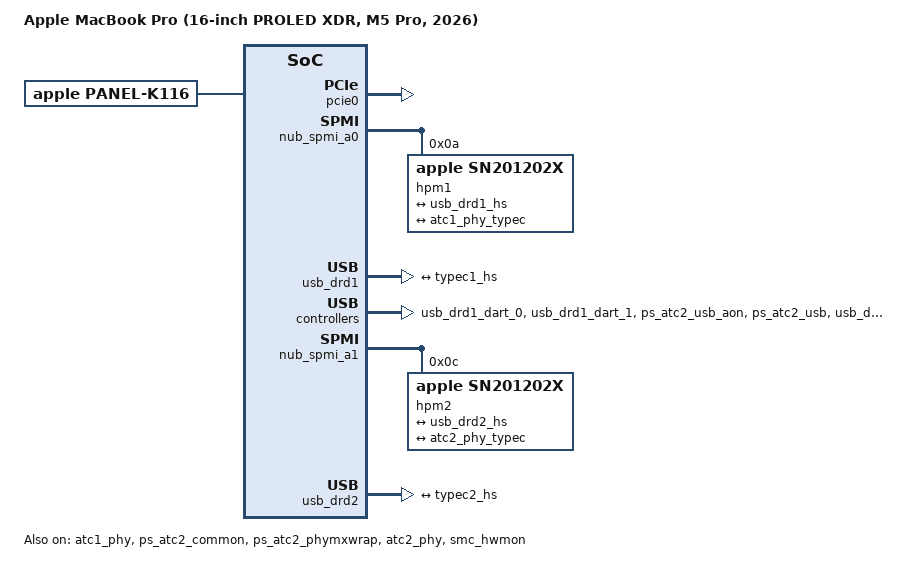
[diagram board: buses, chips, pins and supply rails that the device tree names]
// SPDX-License-Identifier: GPL-2.0+ OR MIT
/*
 * MacBook Pro (16-inch PROLED XDR, M5 Pro, 2026)
 *
 * target-type: K116s (Mac17,12)
 *
 * Preliminary: described from the ADT only, not yet booted on the hardware.
 *
 * Copyright The Asahi Linux Contributors
 */

#include "t6050-k114-k116.dtsi"

/ {
	compatible = "apple,k116s", "apple,t6050", "apple,arm-platform";
	model = "Apple MacBook Pro (16-inch PROLED XDR, M5 Pro, 2026)";
};

&mtp_multitouch {
	firmware-name = "apple/tpmtfw-k116s.bin";
};

#define T6050_K116S
#include "t6050-peripherals.dtsi"

/ {
	aliases {
		/* The loader fills the N1's factory addresses through these */
		wifi0 = &n1_alpha;
		bluetooth0 = &n1_beta;
	};
};

/* Only PCIe port 0's PERST#, pin 80, is exposed */
&pinctrl_ap {
	gpio-reserved-ranges = <0 80>, <81 140>;
};

/*
 * PCIe port 0: the N1 (Wi-Fi and Bluetooth), laid out as on J714s. ADT apcie0
 * gives port 0's registers and IRQ 1523, pci-bridge0's PERST# is GPIO 80, and
 * the N1's three functions are on DART streams 1-3. The platform ID is this
 * board's ADT /chosen board-id (0x16) << 16 | chip 0x6050.
 */
&pcie0 {
	reg = <0x1c 0xb0000000 0x0 0x10000000>,
	      <0x4 0x14000000 0x0 0x4000>,
	      <0x4 0x10028000 0x0 0x8000>,
	      <0x4 0x17010000 0x0 0x4000>,
	      <0x4 0x10024000 0x0 0x4000>;
	reg-names = "config", "rc", "port0", "phy0", "intr2axi0";
	interrupts = <AIC_IRQ 0 1523 IRQ_TYPE_LEVEL_HIGH>;
	interrupt-names = "port0";
	iommu-map = <0x100 &dart_apcie0 1 3>;
	bus-range = <0 4>;
	status = "okay";

	port00: pci@0,0 {
		device_type = "pci";
		reg = <0x0 0 0 0 0>;
		bus-range = <1 1>;
		apple,link-trained-by-bootloader;
		/* PERST#: ADT pci-bridge0 function-perst, GPIO 80 */
		reset-gpios = <&pinctrl_ap 80 GPIO_ACTIVE_LOW>;
		status = "disabled";

		#address-cells = <3>;
		#size-cells = <2>;
		ranges;

		interrupt-controller;
		#interrupt-cells = <1>;
		interrupt-map-mask = <0 0 0 7>;
		interrupt-map = <0 0 0 1 &port00 0 0 0 0>,
				<0 0 0 2 &port00 0 0 0 1>,
				<0 0 0 3 &port00 0 0 0 2>,
				<0 0 0 4 &port00 0 0 0 3>;

		n1_control: control@0,0 {
			compatible = "pci106b,1900";
			reg = <0x10000 0x0 0x0 0x0 0x0>;
			firmware-name = "apple/centauri/k116s-ftab.bin";
			apple,centauri-platform-id = <0x00166050>;
			apple,centauri-protocol = <27>;
		};

		n1_alpha: wifi@0,1 {
			compatible = "pci106b,1902";
			reg = <0x10100 0x0 0x0 0x0 0x0>;
			local-mac-address = [00 00 00 00 00 00];
		};

		n1_beta: bluetooth@0,2 {
			compatible = "pci106b,1903";
			reg = <0x10200 0x0 0x0 0x0 0x0>;
			local-bd-address = [00 00 00 00 00 00];
		};
	};
};

/*
 * Type-C, from the ADT (as on J714s):
 *   ATC0 usb-drd0 left-back  hpm0 nub-spmi-a0 0x0c (the debug port, not described)
 *   ATC1 usb-drd1 left-front hpm1 nub-spmi-a0 0x0a
 *   ATC2 usb-drd2 right      hpm2 nub-spmi-a1 0x0c
 *   hpm5 nub-spmi-a0 0x08 (MagSafe, not a USB-C connector)
 */

/* Left-front port (ATC1): the SN201202x hpm1 and the connector graph */
&nub_spmi_a0 {
	status = "okay";

	hpm1: usb-pd@a {
		compatible = "apple,sn201202x";
		reg = <0xa SPMI_USID>;

		typec1: connector {
			compatible = "usb-c-connector";
			label = "USB-C Left-front";
			power-role = "dual";
			data-role = "dual";

			ports {
				#address-cells = <1>;
				#size-cells = <0>;

				port@0 {
					reg = <0>;
					typec1_hs: endpoint {
						remote-endpoint = <&usb_drd1_hs>;
					};
				};

				port@1 {
					reg = <1>;
					typec1_ss: endpoint {
						remote-endpoint = <&atc1_phy_typec>;
					};
				};
			};
		};
	};
};

&atc1_phy_mbox {
	status = "okay";
};

&atc1_phy {
	status = "okay";

	port {
		atc1_phy_typec: endpoint {
			remote-endpoint = <&typec1_ss>;
		};
	};
};

&usb_drd1 {
	status = "okay";

	port {
		usb_drd1_hs: endpoint {
			remote-endpoint = <&typec1_hs>;
		};
	};
};

&usb_drd1_dart_0 {
	status = "okay";
};

&usb_drd1_dart_1 {
	status = "okay";
};

/*
 * Right port (ATC2): hpm2 on nub-spmi-a1, USB only (dcpext0's DisplayPort route
 * through ATC2 stays off). The driver polls the generation 4 bus and refuses an
 * interrupt, so it takes the first register window only, as on J714s.
 */
&nub_spmi_a1 {
	reg = <0x2 0x8a1a8000 0x0 0x4000>;
	/delete-property/ interrupts;
	status = "okay";

	hpm2: usb-pd@c {
		compatible = "apple,sn201202x";
		reg = <0xc SPMI_USID>;

		typec2: connector {
			compatible = "usb-c-connector";
			label = "USB-C Right";
			power-role = "dual";
			data-role = "dual";

			ports {
				#address-cells = <1>;
				#size-cells = <0>;

				port@0 {
					reg = <0>;
					typec2_hs: endpoint {
						remote-endpoint = <&usb_drd2_hs>;
					};
				};

				port@1 {
					reg = <1>;
					typec2_ss: endpoint {
						remote-endpoint = <&atc2_phy_typec>;
					};
				};
			};
		};
	};
};

&ps_atc2_common {
	status = "okay";
};

&ps_atc2_usb_aon {
	status = "okay";
};

&ps_atc2_phymxwrap {
	status = "okay";
};

&ps_atc2_usb {
	status = "okay";
};

&atc2_phy_mbox {
	status = "okay";
};

&atc2_phy {
	status = "okay";

	port {
		atc2_phy_typec: endpoint {
			remote-endpoint = <&typec2_ss>;
		};
	};
};

&usb_drd2 {
	status = "okay";

	port {
		usb_drd2_hs: endpoint {
			remote-endpoint = <&typec2_hs>;
		};
	};
};

&usb_drd2_dart_0 {
	status = "okay";
};

&usb_drd2_dart_1 {
	status = "okay";
};

/*
 * SMC sensors, as on J714s: every readable float T* key is discovered through
 * apple,discover-temperatures in t6050-die0.dtsi, so the shared temperature
 * nodes and apple,soc-die-keys go. The T6050 SMC spells the fan mode keys
 * F0md/F1md and drives the fans itself.
 */
#include "hwmon-common.dtsi"
#include "hwmon-fan-dual.dtsi"
#include "hwmon-laptop.dtsi"

&smc_hwmon {
	status = "okay";
	/delete-property/ apple,soc-die-keys;
	/delete-node/ temperature-TH0x;
	/delete-node/ temperature-TB0T;
	/delete-node/ temperature-TCHP;
	/delete-node/ temperature-TW0P;
	fan-F0Ac {
		apple,fan-mode = "F0md";
	};
	fan-F1Ac {
		apple,fan-mode = "F1md";
	};
};

/*
 * The internal panel and the display coprocessor, for the boot loader's display
 * hand-off (aura, chosen.aurora,t6050-display=1). Everything stays disabled: the
 * loader checks the ADT and the live DCP and DART state, publishes the DCP's
 * firmware properties, reserves the ADT /vram as the framebuffer and only then
 * enables dcp, its DARTs and mailbox and the display subsystem. A loader without
 * the hand-off leaves the boot framebuffer to simpledrm.
 */
/ {
	aliases {
		/* The loader writes apple,notch-height into the "dcp" alias */
		dcp = &dcp;
		disp0 = &display;
	};

	/* As on J714s, with the internal display's DART (disp0, SID 0) */
	display: display-subsystem {
		compatible = "apple,display-subsystem";
		iommus = <&disp0_dart 0>;
		status = "disabled";
	};
};

/* ADT dart-dcp and dart-disp0: vm-base 1 TiB, vm-size 3 TiB */
&dcp_dart {
	apple,dma-range = <0x100 0x0 0x300 0x0>;
};

&disp0_dart {
	apple,dma-range = <0x100 0x0 0x300 0x0>;
};

/* The DCP firmware's clocks: ADT disp0 clock-ids; the loader fills the rates */
/ {
	dcp_clk_361: clock-dcp-firmware-361 {
		compatible = "fixed-clock";
		#clock-cells = <0>;
		clock-frequency = <0>;
	};

	dcp_clk_458: clock-dcp-firmware-458 {
		compatible = "fixed-clock";
		#clock-cells = <0>;
		clock-frequency = <0>;
	};
};

&dcp {
	/*
	 * The bandwidth request scratch: the PMC metadata (disp-4, register window
	 * 5) at the slot of PMGR bandwidth agent DISP_INT (ADT bwr-agent index 0,
	 * BIRQ 0x96 = disp0 function-bw_req_interrupt0): 0x20000 + 0 * 0x4000.
	 */
	apple,bw-scratch = <&dcpext0_pmc 0 5 0x20000>;
	/* ADT disp0 clock-ids */
	apple,clock-ids = <361 458>;
	clocks = <&dcp_clk_361>, <&dcp_clk_458>;

	/*
	 * The 16.2-inch 3456x2234 tandem OLED panel. The ADT carries no dimensions;
	 * these are the panel's active area, for the DPI only.
	 */
	panel {
		compatible = "apple,panel-k116", "apple,panel";
		width-mm = <345>;
		height-mm = <223>;
	};
};

/* The ADT lists no clocks for the external engines (clock-ids = []) */
&dcpext1 {
	apple,clock-ids;
};

&dcpext2 {
	apple,clock-ids;
};

&dcpext3 {
	apple,clock-ids;
};

/* ADT dart-dcpextN and dart-dispextN: vm-base 1 TiB, vm-size 3 TiB */
&dcpext1_dart {
	apple,dma-range = <0x100 0x0 0x300 0x0>;
};

&dispext1_dart {
	apple,dma-range = <0x100 0x0 0x300 0x0>;
};

&dcpext2_dart {
	apple,dma-range = <0x100 0x0 0x300 0x0>;
};

&dispext2_dart {
	apple,dma-range = <0x100 0x0 0x300 0x0>;
};

&dcpext3_dart {
	apple,dma-range = <0x100 0x0 0x300 0x0>;
};

&dispext3_dart {
	apple,dma-range = <0x100 0x0 0x300 0x0>;
};

/*
 * The trackpad's AFE reset. The ADT names the SMC pcIO template (0x10000,
 * 0x11c0000), the same line as SMC GPIO gp1c, active low, which gpio-macsmc
 * drives; through the pcIO outputs the multi-touch interface never comes up.
 * As on J714s: gp1c, and the pcIO outputs go. The keyboard alias lets the
 * loader fill the layout from the ADT.
 */
/delete-node/ &smc_pcio;

&mtp_hid {
	apple,afe-reset-gpios = <&smc_gpio_low 28 GPIO_ACTIVE_LOW>;

	keyboard: keyboard {
	};

	/*
	 * The touchscreen's MTP interface. Its GPIO functions (reset, power, clock,
	 * display sync) are not described yet, so the interface stays off until
	 * they are, as a pending GPIO request from the firmware stalls the others.
	 */
	kiwi {
		status = "disabled";
	};
};

/ {
	aliases {
		keyboard = &keyboard;
		/* The loader fills the PHYs' tunables from the ADT through these */
		atcphy1 = &atc1_phy;
		atcphy2 = &atc2_phy;
	};
};
